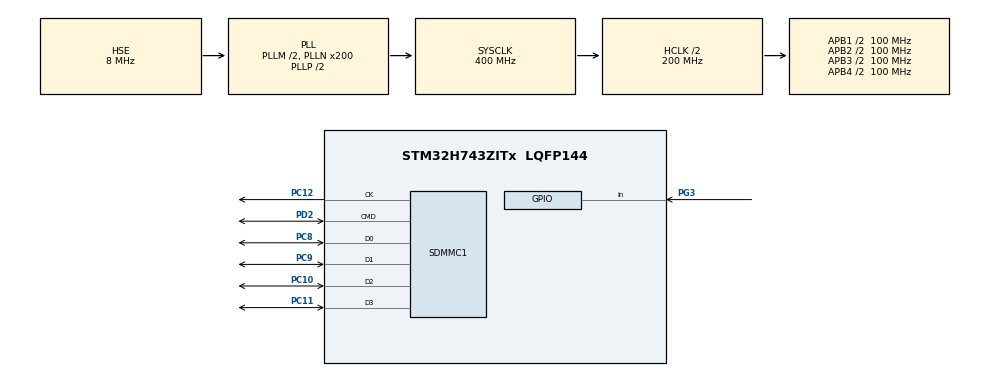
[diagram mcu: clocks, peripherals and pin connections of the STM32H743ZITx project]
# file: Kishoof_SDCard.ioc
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FATFS.BSP.number=1
FATFS.USE_DMA_CODE_SD=1
FATFS0.BSP.STBoard=false
FATFS0.BSP.api=Unknown
FATFS0.BSP.instance=PG3
FATFS0.BSP.ip=GPIO
FATFS0.BSP.mode=Input
FATFS0.BSP.name=Detect_SDIO
FATFS0.BSP.solution=PG3
Mcu.Family=STM32H7
Mcu.Name=STM32H743ZITx
Mcu.Package=LQFP144
NVIC.PriorityGroup=NVIC_PRIORITYGROUP_4
NVIC.SDMMC1_IRQn=true\:0\:0\:false\:false\:true\:true\:true\:true
PC10.Mode=SD_4_bits_Wide_bus
PC10.Signal=SDMMC1_D2
PC11.Mode=SD_4_bits_Wide_bus
PC11.Signal=SDMMC1_D3
PC12.Mode=SD_4_bits_Wide_bus
PC12.Signal=SDMMC1_CK
PC8.Mode=SD_4_bits_Wide_bus
PC8.Signal=SDMMC1_D0
PC9.Mode=SD_4_bits_Wide_bus
PC9.Signal=SDMMC1_D1
PD2.Mode=SD_4_bits_Wide_bus
PD2.Signal=SDMMC1_CMD
PG3.Signal=GPIO_Input
PH0-OSC_IN\ (PH0).Mode=HSE-External-Oscillator
PH0-OSC_IN\ (PH0).Signal=RCC_OSC_IN
PH1-OSC_OUT\ (PH1).Mode=HSE-External-Oscillator
PH1-OSC_OUT\ (PH1).Signal=RCC_OSC_OUT
ProjectManager.HeapSize=0x200
ProjectManager.StackSize=0x400
ProjectManager.TargetToolchain=STM32CubeIDE
RCC.ADCFreq_Value=400000000
RCC.APB1Freq_Value=100000000
RCC.APB2Freq_Value=100000000
RCC.APB3Freq_Value=100000000
RCC.APB4Freq_Value=100000000
RCC.CortexFreq_Value=400000000
RCC.D1PPRE=RCC_APB3_DIV2
RCC.D2PPRE1=RCC_APB1_DIV2
RCC.D2PPRE2=RCC_APB2_DIV2
RCC.D3PPRE=RCC_APB4_DIV2
RCC.DIVM1=2
RCC.DIVM2=2
RCC.DIVN1=200
RCC.DIVN2=200
RCC.DIVR2=16
RCC.HCLKFreq_Value=200000000
RCC.HPRE=RCC_HCLK_DIV2
RCC.HSE_VALUE=8000000
RCC.PLL2FRACN=0
RCC.PLL3FRACN=0
RCC.PLLFRACN=0
RCC.PLLSourceVirtual=RCC_PLLSOURCE_HSE
RCC.SDMMC1CLockSelection=RCC_SDMMCCLKSOURCE_PLL2
RCC.SYSCLKFreq_VALUE=400000000
RCC.SYSCLKSource=RCC_SYSCLKSOURCE_PLLCLK
RCC.USBFreq_Value=400000000
VP_FATFS_VS_SDIO.Mode=SDIO
board=custom

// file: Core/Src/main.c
/* USER CODE BEGIN Header */
/**
 ******************************************************************************
 * @file           : main.c
 * @brief          : Main program body
 ******************************************************************************
 * @attention
 *
 * Copyright (c) 2024 STMicroelectronics.
 * All rights reserved.
 *
 * This software is licensed under terms that can be found in the LICENSE file
 * in the root directory of this software component.
 * If no LICENSE file comes with this software, it is provided AS-IS.
 *
 ******************************************************************************
 */
/* USER CODE END Header */
#include "main.h"
#include "fatfs.h"

/* USER CODE BEGIN Includes */
#include <string.h>
/* USER CODE END Includes */

SD_HandleTypeDef hsd1;

void SystemClock_Config(void);
static void MX_GPIO_Init(void);
static void MX_SDMMC1_SD_Init(void);

int main(void)
{
	/* USER CODE BEGIN 1 */
	FRESULT res; 									// FatFs function common result code
	uint32_t byteswritten, bytesread;				// File write/read counts
	uint8_t wtext[] = "STM32 FATFS works great!";	// File write buffer
	uint8_t rtext[_MAX_SS];							// File read buffer
	/* USER CODE END 1 */

	/* MCU Configuration--------------------------------------------------------*/

	/* Reset of all peripherals, Initializes the Flash interface and the Systick. */
	HAL_Init();

	/* Configure the system clock */
	SystemClock_Config();

	/* Initialize all configured peripherals */
	MX_GPIO_Init();
	MX_SDMMC1_SD_Init();
	MX_FATFS_Init();
	/* USER CODE BEGIN 2 */
	//if (0) {
		if (f_mount(&SDFatFS, (TCHAR const*)SDPath, 1) != FR_OK)	{
			Error_Handler();
		} else {
			res = f_mkfs((TCHAR const*)SDPath, FM_ANY, 0, rtext, sizeof(rtext));
			if (res != FR_OK) {
				Error_Handler();
			} else {
				//Open file for writing (Create)
				if (f_open(&SDFile, "STM32.TXT", FA_CREATE_ALWAYS | FA_WRITE) != FR_OK) {
					Error_Handler();
				} else {
					//Write to the text file
					res = f_write(&SDFile, wtext, strlen((char*)wtext), (void*)&byteswritten);
					if ((byteswritten == 0) || (res != FR_OK)) {
						Error_Handler();
					} else {
						f_close(&SDFile);

						// Open the text file object with read access
						if (f_open(&SDFile, "STM32.TXT", FA_READ) == FR_OK) {

							// Read data from the text file
							res = f_read(&SDFile, rtext, sizeof(rtext), (unsigned int *)&bytesread);

							if ((bytesread > 0) && (res == FR_OK)) {

								//Close the open text file
								f_close(&SDFile);
							}
						}
					}
				}

			}

		}
	//}
//	res = f_mount(&SDFatFS, (TCHAR const*)NULL, 0);

	DIR dp;						// Pointer to the directory object structure
	FILINFO fno;				// File information structure
	res = f_opendir(&dp, "");	// second parm is directory name (root)
	res = f_readdir(&dp, &fno);
	uint8_t dummy = 1;

	/* USER CODE END 2 */

	/* Infinite loop */
	while (1)
	{

	}
}

void SystemClock_Config(void)
{
	RCC_OscInitTypeDef RCC_OscInitStruct = {0};
	RCC_ClkInitTypeDef RCC_ClkInitStruct = {0};

	/** Supply configuration update enable
	 */
	HAL_PWREx_ConfigSupply(PWR_LDO_SUPPLY);

	/** Configure the main internal regulator output voltage
	 */
	__HAL_PWR_VOLTAGESCALING_CONFIG(PWR_REGULATOR_VOLTAGE_SCALE1);

	while(!__HAL_PWR_GET_FLAG(PWR_FLAG_VOSRDY)) {}

	/** Initializes the RCC Oscillators according to the specified parameters
	 * in the RCC_OscInitTypeDef structure.
	 */
	RCC_OscInitStruct.OscillatorType = RCC_OSCILLATORTYPE_HSE;
	RCC_OscInitStruct.HSEState = RCC_HSE_ON;
	RCC_OscInitStruct.PLL.PLLState = RCC_PLL_ON;
	RCC_OscInitStruct.PLL.PLLSource = RCC_PLLSOURCE_HSE;
	RCC_OscInitStruct.PLL.PLLM = 2;
	RCC_OscInitStruct.PLL.PLLN = 200;
	RCC_OscInitStruct.PLL.PLLP = 2;
	RCC_OscInitStruct.PLL.PLLQ = 2;
	RCC_OscInitStruct.PLL.PLLR = 2;
	RCC_OscInitStruct.PLL.PLLRGE = RCC_PLL1VCIRANGE_2;
	RCC_OscInitStruct.PLL.PLLVCOSEL = RCC_PLL1VCOWIDE;
	RCC_OscInitStruct.PLL.PLLFRACN = 0;
	if (HAL_RCC_OscConfig(&RCC_OscInitStruct) != HAL_OK)
	{
		Error_Handler();
	}

	/** Initializes the CPU, AHB and APB buses clocks
	 */
	RCC_ClkInitStruct.ClockType = RCC_CLOCKTYPE_HCLK|RCC_CLOCKTYPE_SYSCLK
			|RCC_CLOCKTYPE_PCLK1|RCC_CLOCKTYPE_PCLK2
			|RCC_CLOCKTYPE_D3PCLK1|RCC_CLOCKTYPE_D1PCLK1;
	RCC_ClkInitStruct.SYSCLKSource = RCC_SYSCLKSOURCE_PLLCLK;
	RCC_ClkInitStruct.SYSCLKDivider = RCC_SYSCLK_DIV1;
	RCC_ClkInitStruct.AHBCLKDivider = RCC_HCLK_DIV2;
	RCC_ClkInitStruct.APB3CLKDivider = RCC_APB3_DIV2;
	RCC_ClkInitStruct.APB1CLKDivider = RCC_APB1_DIV2;
	RCC_ClkInitStruct.APB2CLKDivider = RCC_APB2_DIV2;
	RCC_ClkInitStruct.APB4CLKDivider = RCC_APB4_DIV2;

	if (HAL_RCC_ClockConfig(&RCC_ClkInitStruct, FLASH_LATENCY_2) != HAL_OK)
	{
		Error_Handler();
	}
}

static void MX_SDMMC1_SD_Init(void)
{

	hsd1.Instance = SDMMC1;
	hsd1.Init.ClockEdge = SDMMC_CLOCK_EDGE_RISING;
	hsd1.Init.ClockPowerSave = SDMMC_CLOCK_POWER_SAVE_DISABLE;
	hsd1.Init.BusWide = SDMMC_BUS_WIDE_4B;
	hsd1.Init.HardwareFlowControl = SDMMC_HARDWARE_FLOW_CONTROL_DISABLE;
	hsd1.Init.ClockDiv = 0;

}

static void MX_GPIO_Init(void)
{
	GPIO_InitTypeDef GPIO_InitStruct = {0};

	/* GPIO Ports Clock Enable */
	__HAL_RCC_GPIOH_CLK_ENABLE();
	__HAL_RCC_GPIOG_CLK_ENABLE();
	__HAL_RCC_GPIOC_CLK_ENABLE();
	__HAL_RCC_GPIOD_CLK_ENABLE();

	/*Configure GPIO pin : PG3 */
	GPIO_InitStruct.Pin = GPIO_PIN_3;
	GPIO_InitStruct.Mode = GPIO_MODE_INPUT;
	GPIO_InitStruct.Pull = GPIO_NOPULL;
	HAL_GPIO_Init(GPIOG, &GPIO_InitStruct);

}

void Error_Handler(void)
{
	__disable_irq();
	while (1)
	{
	}
}
